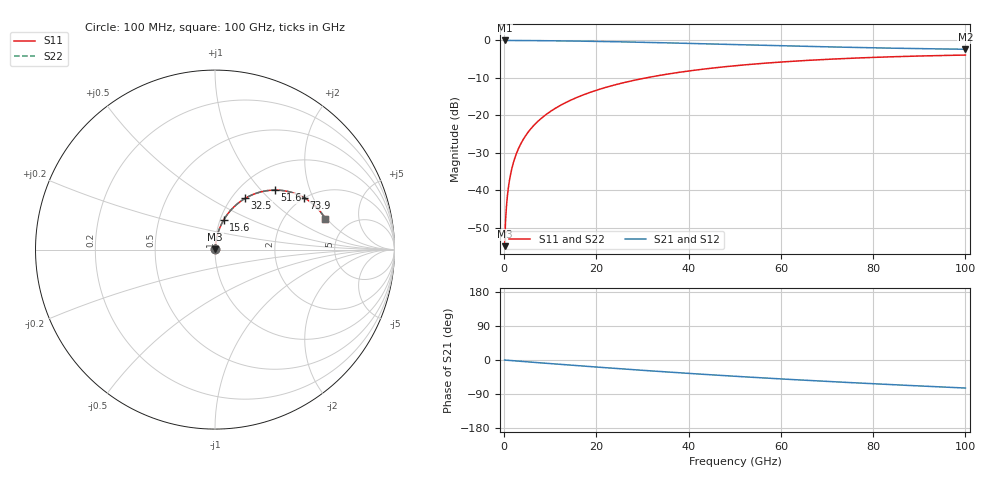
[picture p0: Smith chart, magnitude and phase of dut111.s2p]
! Touchstone file exported from HFSS 2026.1.0
!  File:  C:/ffzhzh/LocalFiles/Ansys_Project_Files/temp_train_RDL_111_1783499283_41296.aedt
!  Generated:  04:29:10 PM Jul  8, 2026
!  Design:  RDL
!  Project:  temp_train_RDL_111_1783499283_41296
! Variables:
!  h_bsmrdl = 2um
!  h_ox = 20um
!  h_rdl = 5um
!  h_sub = 80um
!  h_tmrdl = 4.63um
!  h_tsv = 80um
!  h_via = 3um
!  l_bsmrdl = 300um
!  l_sub = 615.95um
!  l_tmrdl = 215.95um
!  m_sub = 200um
!  pitch = 45.71um
!  r_tsv = 6um
!  s_tmrdl = 10um
!  w_bsmrdl = 18um
!  w_sub = 500um
!  w_tmrdl = 13.52um
!  x_tsv_center1 = 222.71um
!  x_tsv_center2 = 540.71um
!  x_tsv_center3 = 770.18um
!  x_tsv_center4 = 1088.18um
!  x_tsv_center5 = 1317.65um
!  x_tsv_center6 = 1635.65um
# GHz S MA R 50.000000
! Terminal data exported
! Port[1] = TM_RDL1_1_T1
! Port[2] = TM_RDL1_1_T2
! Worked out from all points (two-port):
!   1000 points, 100 MHz to 100 GHz, reference 50 ohm
!   highest |S21| = -0.01 dB at 100 MHz (marker M1); lowest = -2.4 dB at 100 GHz (marker M2)
!   |S21| within 3 dB of the highest: start of sweep to end of sweep
!   lowest |S11| = -54.9 dB at 100 MHz (marker M3), VSWR 1.00, Z = 50.1 + j0.122 ohm
!   |S11| at or under -10 dB: start of sweep to 30.71 GHz
!   |S22| runs from -54.9 to -3.9 dB; largest |S21 - S12| = 7.2e-15
!   S11 on the Smith chart (normalised r, x): 100 MHz: 1.00, +0.00; 15.6 GHz: 1.04, +0.35; 32.5 GHz: 1.15, +0.74; 51.6 GHz: 1.40, +1.19; 73.9 GHz: 1.98, +1.71; 100 GHz: 3.35, +1.91
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0.1  0.001808 42.3  0.9987 -0.1  0.9987 -0.1  0.001808 42.3
! Gamma 0 0 0 0
! Port Impedance 50 0 50 0
0.4  0.004989 72.8  0.9985 -0.4  0.9985 -0.4  0.004989 72.8
0.8  0.009544 80.0  0.9984 -0.8  0.9984 -0.8  0.009544 80.0
1.1  0.013 81.9  0.9983 -1.1  0.9983 -1.1  0.013 81.9
1.4  0.01646 82.9  0.9982 -1.4  0.9982 -1.4  0.01646 82.9
1.9  0.02223 83.7  0.998 -1.8  0.998 -1.8  0.02223 83.7
2.4  0.02799 83.9  0.9978 -2.3  0.9978 -2.3  0.02799 83.9
3.7  0.04287 83.4  0.9969 -3.6  0.9969 -3.6  0.04287 83.5
5.7  0.06542 82.0  0.995 -5.5  0.995 -5.5  0.06542 82.0
8.3  0.09415 79.9  0.9919 -7.9  0.9919 -7.9  0.09415 79.9
11.6  0.1298 77.1  0.9872 -11.0  0.9872 -11.0  0.1298 77.1
15.6  0.1719 73.7  0.98 -14.6  0.98 -14.6  0.1719 73.7
16.8  0.1843 72.7  0.9776 -15.7  0.9776 -15.7  0.1843 72.7
23.8  0.2534 66.7  0.9612 -21.9  0.9612 -21.9  0.2534 66.7
32.5  0.3315 59.5  0.9365 -29.3  0.9365 -29.3  0.3315 59.5
33.4  0.3391 58.8  0.9338 -30.0  0.9338 -30.0  0.3391 58.8
50.1  0.4598 46.1  0.8803 -43.0  0.8803 -43.0  0.4598 46.1
51.6  0.4689 45.0  0.8755 -44.1  0.8755 -44.1  0.4689 45.0
66.7  0.5457 34.8  0.8301 -54.4  0.8301 -54.4  0.5457 34.8
73.9  0.5738 30.3  0.8111 -58.9  0.8111 -58.9  0.5738 30.4
83.4  0.6034 24.7  0.7896 -64.6  0.7896 -64.6  0.6034 24.7
100  0.6377 15.4  0.7625 -74.0  0.7625 -74.0  0.6377 15.5
